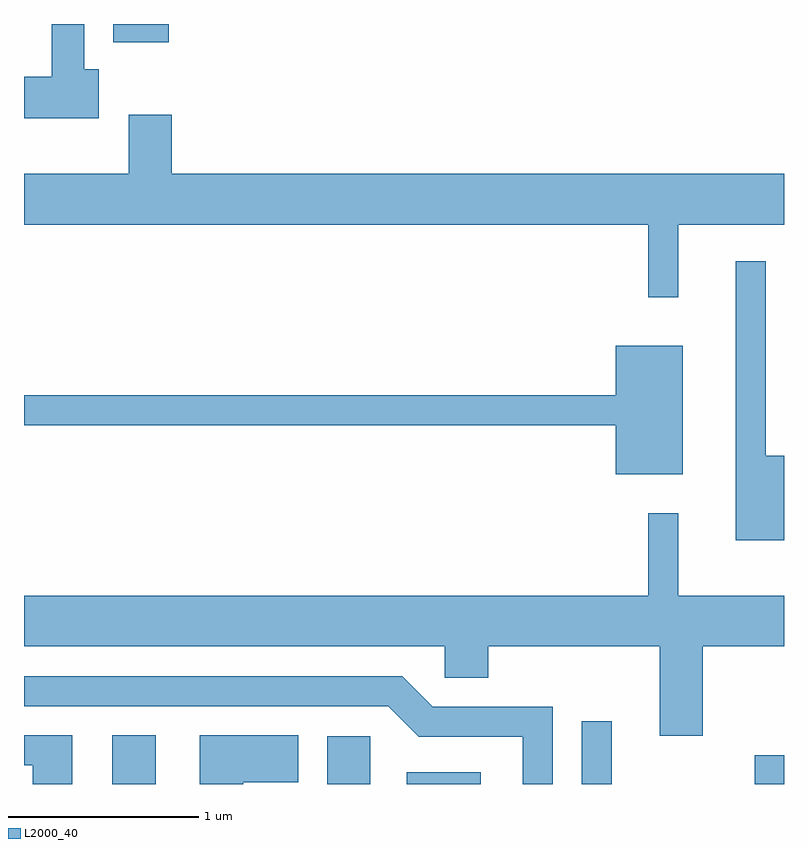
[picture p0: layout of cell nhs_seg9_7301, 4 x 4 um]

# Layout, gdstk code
import gdstk
lib = gdstk.Library(unit=1e-6, precision=1e-09)
def R(c, l, rs):  # rectangles x0, y0, x1, y1
    for r in rs: c.add(gdstk.rectangle(r[:2], r[2:], *l))
def P(c, l, *ps):  # polygons
    for p in ps: c.add(gdstk.Polygon(p, *l))
L2000_40 = (2000, 40)

nhs_seg9_7301 = lib.new_cell('nhs_seg9_7301')
R(nhs_seg9_7301, L2000_40, [(402.076,1984.432,402.304,1984.689), (403.206,1984.432,403.434,1984.684), (403.626,1984.432,404.014,1984.494), (404.546,1984.432,404.704,1984.763), (405.456,1984.432,405.611,1984.584), (402.081,1988.336,402.374,1988.432)])
P(nhs_seg9_7301, L2000_40, [(402.004,1988.194),(401.929,1988.194),(401.929,1988.432),(401.756,1988.432),(401.756,1988.154),(401.611,1988.154),(401.611,1987.936),(402.004,1987.936)],
  [(405.054,1987.376),(405.611,1987.376),(405.611,1987.644),(402.389,1987.644),(402.389,1987.954),(402.161,1987.954),(402.161,1987.644),(401.611,1987.644),(401.611,1987.376),(404.896,1987.376),(404.896,1986.993),(405.054,1986.993)],
  [(405.611,1986.159),(405.514,1986.159),(405.514,1987.183),(405.356,1987.183),(405.356,1985.716),(405.611,1985.716)],
  [(405.079,1986.739),(404.726,1986.739),(404.726,1986.479),(401.611,1986.479),(401.611,1986.321),(404.726,1986.321),(404.726,1986.061),(405.079,1986.061)],
  [(405.184,1985.156),(405.611,1985.156),(405.611,1985.424),(405.054,1985.424),(405.054,1985.858),(404.896,1985.858),(404.896,1985.424),(401.611,1985.424),(401.611,1985.156),(403.826,1985.156),(403.826,1984.991),(404.054,1984.991),(404.054,1985.156),(404.956,1985.156),(404.956,1984.686),(405.184,1984.686)],
  [(404.394,1984.839),(403.762,1984.839),(403.602,1984.999),(401.611,1984.999),(401.611,1984.841),(403.529,1984.841),(403.689,1984.681),(404.236,1984.681),(404.236,1984.432),(404.394,1984.432)],
  [(401.864,1984.689),(401.611,1984.689),(401.611,1984.531),(401.656,1984.531),(401.656,1984.432),(401.864,1984.432)],
  [(402.764,1984.441),(403.054,1984.441),(403.054,1984.689),(402.536,1984.689),(402.536,1984.432),(402.764,1984.432)])

lib.write_gds('nhs_seg9_7301.gds')
